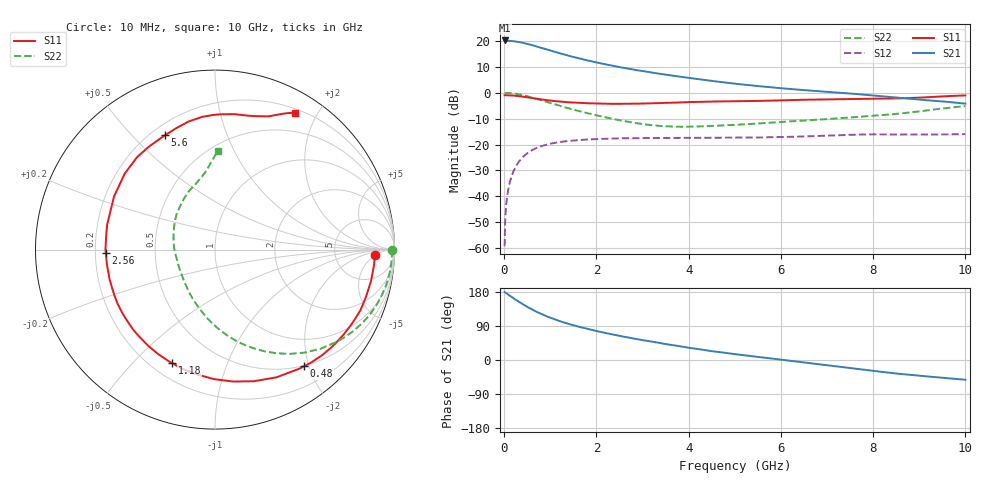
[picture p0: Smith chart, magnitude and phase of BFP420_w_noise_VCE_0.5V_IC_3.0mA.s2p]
! Infineon Technologies  Discrete & RF Semiconductors
! BFP420
! VCE =  0.5 V,  IC =  3.0 mA
! Common Emitter S-Parameters:  Jan 2016
# GHz  S  MA  R  50
!  f  S11  S21  S12  S22
! GHz  MAG  ANG  MAG  ANG  MAG  ANG  MAG  ANG
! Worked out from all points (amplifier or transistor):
!   233 points, 10 MHz to 10 GHz, reference 50 ohm
!   highest |S21| = 20.1 dB at 10 MHz (marker M1)
!   |S21| within 3 dB of that: start of sweep to 834.7 MHz
!   unconditionally stable (mu >= 1): 3.514 GHz to end of sweep
!   at 200 MHz: K = 0.05, MSG = 25.1 dB, |S12| = -30.4 dB
!   at 1.74 GHz: K = 0.49, MSG = 15.4 dB, |S12| = -18.1 dB
!   at 10 GHz: K = 1.13, MAG = 3.7 dB, |S12| = -16.0 dB
!   lowest NFmin = 0.57 dB at 900 MHz
!   S11 on the Smith chart (normalised r, x): 10 MHz: 16, -5; 480 MHz: 0.49, -1.92; 1.18 GHz: 0.28, -0.65; 2.56 GHz: 0.24, -0.01; 5.6 GHz: 0.25, +0.62; 10 GHz: 0.25, +1.71
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0.01  0.891 -1.9  10.11 179.4  0.0011 100.7  0.9847 -0.2
0.02  0.8923 -2.3  9.883 178.7  0.003 88.0  0.9867 -1.5
0.04  0.8908 -4.4  9.91 176.8  0.0062 87.5  0.986 -3.1
0.115  0.8845 -13.1  9.939 170.4  0.0175 82.2  0.9787 -9.1
0.2  0.8778 -22.7  9.804 163.3  0.0301 77.0  0.9625 -15.7
0.3  0.8585 -33.7  9.514 155.1  0.044 70.6  0.9331 -23.3
0.48  0.8178 -52.6  8.792 141.7  0.0656 60.2  0.8602 -35.8
0.6  0.7897 -64.3  8.253 133.4  0.0774 54.0  0.8062 -43.3
0.8  0.7423 -82.1  7.316 121.6  0.0926 45.2  0.7145 -54.4
1  0.7031 -98.1  6.484 111.5  0.1036 38.1  0.631 -64.0
1.18  0.6762 -110.8  5.819 103.6  0.1107 32.8  0.5656 -71.5
1.4  0.6526 -124.7  5.135 95.1  0.1172 27.3  0.498 -80.0
1.68  0.6312 -140.1  4.443 85.8  0.1229 21.7  0.428 -89.5
2  0.6167 -155.2  3.817 76.5  0.1274 16.5  0.3661 -99.6
2.56  0.6089 -178.4  3.037 62.3  0.1316 9.2  0.2873 -118.2
3.4  0.6287 155.1  2.287 44.4  0.1336 1.6  0.2275 -148.0
4  0.6577 139.8  1.924 32.3  0.1347 -2.5  0.2208 -169.5
5.1  0.6833 120.8  1.454 14.1  0.1359 -7.9  0.242 162.7
5.6  0.695 113.6  1.31 6.8  0.1372 -9.6  0.2568 153.0
6.8  0.7362 98.0  1.067 -10.8  0.1461 -14.3  0.3009 132.6
8.4  0.7686 76.1  0.815 -34.3  0.1562 -25.5  0.382 106.2
10  0.8834 59.8  0.613 -52.2  0.1584 -32.5  0.5508 88.2
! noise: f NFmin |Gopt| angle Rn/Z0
0.9  0.57  0.35  33  0.18
1.8  1.02  0.2  79  0.14
2.4  1.1  0.23  104  0.14
3  1.25  0.24  144  0.11
4  1.46  0.33  -159  0.1
5  1.9  0.39  -128  0.22
6  2.46  0.48  -107  0.35
